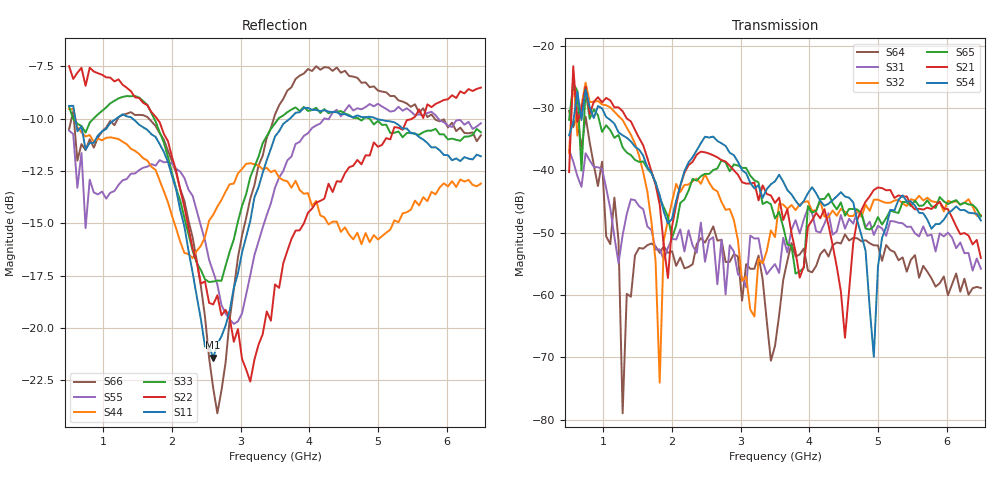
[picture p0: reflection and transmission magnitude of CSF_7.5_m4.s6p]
!Keysight Technologies,M9804A,MY58100912,A.14.10.03
!Date: Thursday, April 27, 2023 10:28:33
!Correction: S11(C  6-Port  )
!S12(C  6-Port  )
!S13(C  6-Port  )
!S14(C  6-Port  )
!S15(C  6-Port  )
!S16(C  6-Port  )
!S21(C  6-Port  )
!S22(C  6-Port  )
!S23(C  6-Port  )
!S24(C  6-Port  )
!S25(C  6-Port  )
!S26(C  6-Port  )
!S31(C  6-Port  )
!S32(C  6-Port  )
!S33(C  6-Port  )
!S34(C  6-Port  )
!S35(C  6-Port  )
!S36(C  6-Port  )
!S41(C  6-Port  )
!S42(C  6-Port  )
!S43(C  6-Port  )
!S44(C  6-Port  )
!S45(C  6-Port  )
!S46(C  6-Port  )
!S51(C  6-Port  )
!S52(C  6-Port  )
!S53(C  6-Port  )
!S54(C  6-Port  )
!S55(C  6-Port  )
!S56(C  6-Port  )
!S61(C  6-Port  )
!S62(C  6-Port  )
!S63(C  6-Port  )
!S64(C  6-Port  )
!S65(C  6-Port  )
!S66(C  6-Port  )
!S6P File: Measurement: :
# Hz S  RI  R 50
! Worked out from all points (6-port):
!   101 points, 500 MHz to 6.5 GHz, reference 50 ohm
!   strongest paths, dB at 500 MHz, 2 GHz, 3.5 GHz, 5 GHz, 6.5 GHz:
!     S54: -34.4, -47.8, -41.8, -55.5, -48.0
!     S21: -40.3, -49.0, -45.2, -42.8, -54.1
!     S65: -31.9, -50.9, -47.7, -47.5, -47.4
!     S32: -37.3, -45.0, -50.7, -44.7, -47.2
!     S31: -36.8, -51.0, -55.1, -48.9, -55.8
!     S64: -30.5, -53.0, -68.2, -52.1, -58.9
!   lowest |S11| = -21.4 dB at 2.6 GHz (marker M1), VSWR 1.19, Z = 42.5 + j2.24 ohm
!   |S11| at or under -10 dB: 590.3 MHz to 1.189 GHz (598.6 MHz wide, 67.3 % of centre); 1.424 GHz to 3.716 GHz (2.291 GHz wide, 89.2 % of centre); 4.975 GHz to end of sweep
